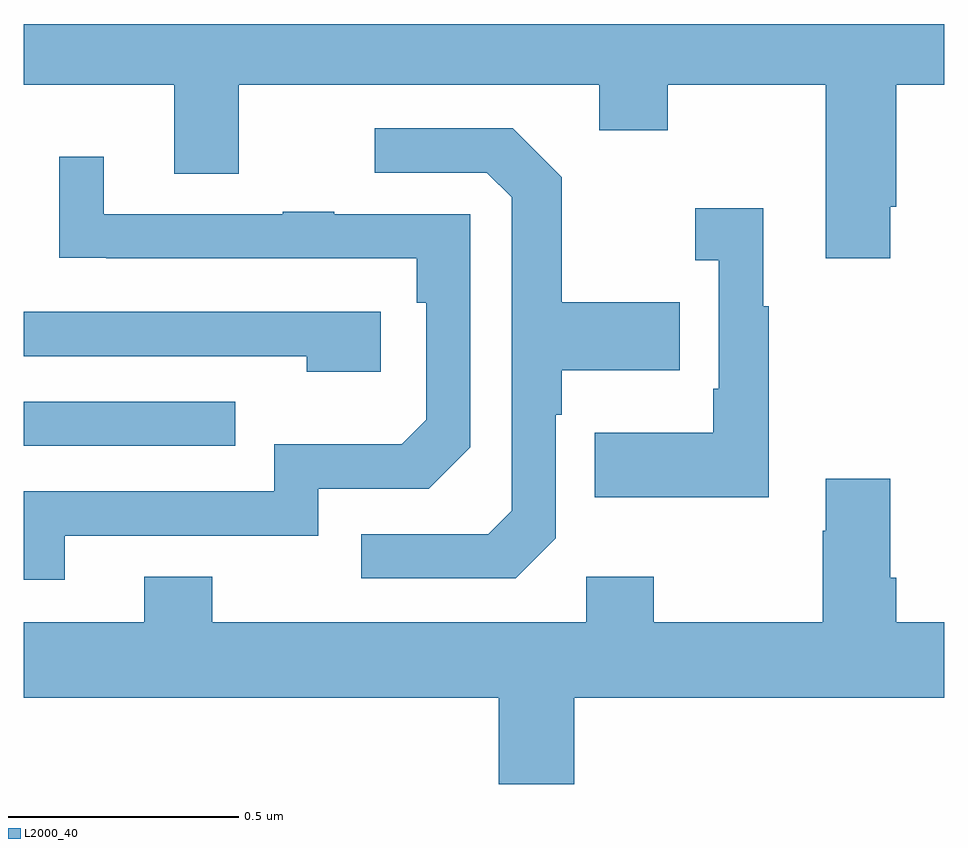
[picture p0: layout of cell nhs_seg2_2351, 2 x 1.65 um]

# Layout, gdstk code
import gdstk
lib = gdstk.Library(unit=1e-6, precision=1e-09)
def R(c, l, rs):  # rectangles x0, y0, x1, y1
    for r in rs: c.add(gdstk.rectangle(r[:2], r[2:], *l))
def P(c, l, *ps):  # polygons
    for p in ps: c.add(gdstk.Polygon(p, *l))
L2000_40 = (2000, 40)

nhs_seg2_2351 = lib.new_cell('nhs_seg2_2351')
R(nhs_seg2_2351, L2000_40, [(140,614.883,140.459,614.979)])
P(nhs_seg2_2351, L2000_40, [(140,615.668),(140.327,615.668),(140.327,615.474),(140.467,615.474),(140.467,615.668),(141.251,615.668),(141.251,615.569),(141.399,615.569),(141.399,615.668),(141.743,615.668),(141.743,615.291),(141.883,615.291),(141.883,615.403),(141.896,615.403),(141.896,615.668),(142,615.668),(142,615.8),(140,615.8)],
  [(141.156,614.682),(141.156,614.951),(141.169,614.951),(141.169,615.047),(141.425,615.047),(141.425,615.195),(141.169,615.195),(141.169,615.467),(141.063,615.573),(140.763,615.573),(140.763,615.477),(141.006,615.477),(141.06,615.423),(141.06,614.742),(141.009,614.691),(140.733,614.691),(140.733,614.595),(141.069,614.595)],
  [(140.089,614.688),(140.64,614.688),(140.64,614.79),(140.88,614.79),(140.97,614.88),(140.97,615.387),(140.675,615.387),(140.675,615.392),(140.563,615.392),(140.563,615.387),(140.173,615.387),(140.173,615.511),(140.077,615.511),(140.077,615.292),(140.179,615.292),(140.179,615.291),(140.854,615.291),(140.854,615.194),(140.874,615.194),(140.874,614.94),(140.821,614.887),(140.544,614.887),(140.544,614.784),(140,614.784),(140,614.592),(140.089,614.592)],
  [(141.619,615.187),(141.607,615.187),(141.607,615.4),(141.459,615.4),(141.459,615.287),(141.51,615.287),(141.51,615.007),(141.498,615.007),(141.498,614.911),(141.241,614.911),(141.241,614.771),(141.619,614.771)],
  [(140.776,615.174),(140,615.174),(140,615.078),(140.615,615.078),(140.615,615.044),(140.776,615.044)],
  [(141.196,614.336),(142,614.336),(142,614.5),(141.896,614.5),(141.896,614.596),(141.883,614.596),(141.883,614.812),(141.743,614.812),(141.743,614.699),(141.736,614.699),(141.736,614.5),(141.369,614.5),(141.369,614.599),(141.222,614.599),(141.222,614.5),(140.409,614.5),(140.409,614.599),(140.261,614.599),(140.261,614.5),(140,614.5),(140,614.336),(141.032,614.336),(141.032,614.148),(141.196,614.148)])

lib.write_gds('nhs_seg2_2351.gds')
